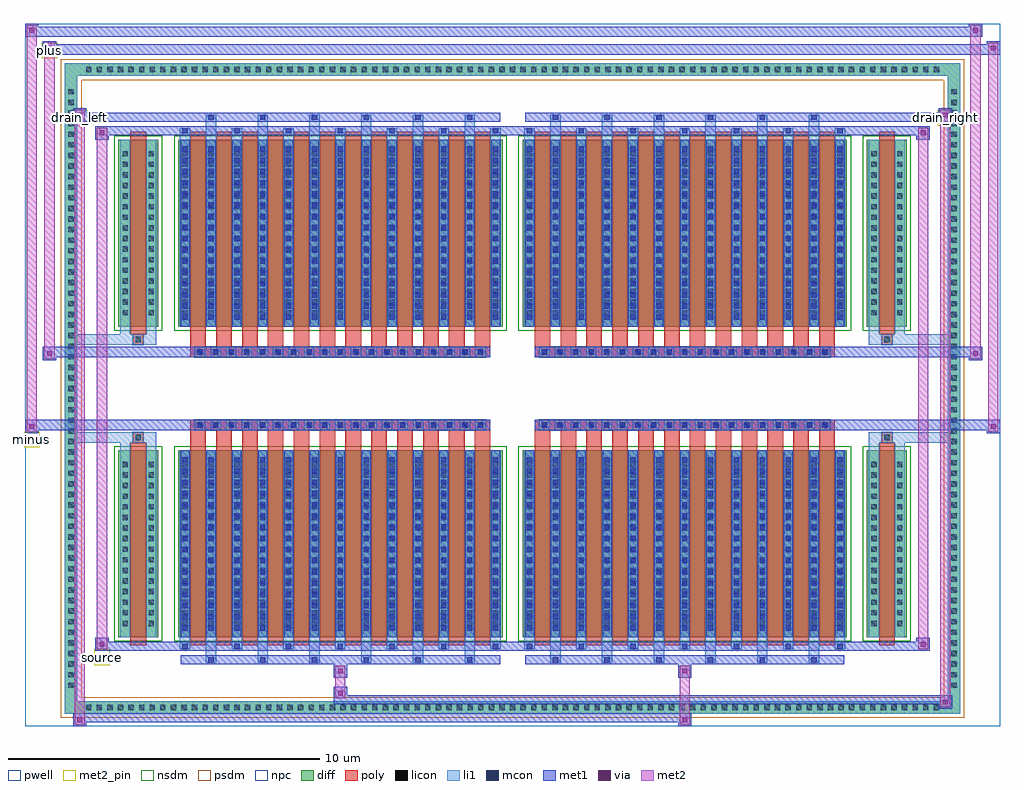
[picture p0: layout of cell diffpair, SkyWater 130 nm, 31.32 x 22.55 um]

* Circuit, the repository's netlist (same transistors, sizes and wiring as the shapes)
* NGSPICE file created from diffpair.ext - technology: sky130A

.subckt diffpair minus drain_right drain_left source plus
X0 drain_left plus source a_n2874_n2088# sky130_fd_pr__nfet_01v8 ad=0.99 pd=6.33 as=0.99 ps=6.33 w=6 l=0.5
X1 source plus drain_left a_n2874_n2088# sky130_fd_pr__nfet_01v8 ad=0.99 pd=6.33 as=0.99 ps=6.33 w=6 l=0.5
X2 a_n2874_n2088# a_n2874_n2088# a_n2874_n2088# a_n2874_n2088# sky130_fd_pr__nfet_01v8 ad=2.34 pd=12.78 as=18.72 ps=102.24 w=6 l=0.5
X3 drain_right minus source a_n2874_n2088# sky130_fd_pr__nfet_01v8 ad=0.99 pd=6.33 as=0.99 ps=6.33 w=6 l=0.5
X4 source plus drain_left a_n2874_n2088# sky130_fd_pr__nfet_01v8 ad=0.99 pd=6.33 as=0.99 ps=6.33 w=6 l=0.5
X5 drain_left plus source a_n2874_n2088# sky130_fd_pr__nfet_01v8 ad=0.99 pd=6.33 as=2.34 ps=12.78 w=6 l=0.5
X6 source plus drain_left a_n2874_n2088# sky130_fd_pr__nfet_01v8 ad=0.99 pd=6.33 as=0.99 ps=6.33 w=6 l=0.5
X7 source minus drain_right a_n2874_n2088# sky130_fd_pr__nfet_01v8 ad=0.99 pd=6.33 as=0.99 ps=6.33 w=6 l=0.5
X8 drain_right minus source a_n2874_n2088# sky130_fd_pr__nfet_01v8 ad=0.99 pd=6.33 as=0.99 ps=6.33 w=6 l=0.5
X9 source minus drain_right a_n2874_n2088# sky130_fd_pr__nfet_01v8 ad=0.99 pd=6.33 as=0.99 ps=6.33 w=6 l=0.5
X10 source minus drain_right a_n2874_n2088# sky130_fd_pr__nfet_01v8 ad=0.99 pd=6.33 as=0.99 ps=6.33 w=6 l=0.5
X11 source plus drain_left a_n2874_n2088# sky130_fd_pr__nfet_01v8 ad=0.99 pd=6.33 as=0.99 ps=6.33 w=6 l=0.5
X12 source plus drain_left a_n2874_n2088# sky130_fd_pr__nfet_01v8 ad=2.34 pd=12.78 as=0.99 ps=6.33 w=6 l=0.5
X13 source minus drain_right a_n2874_n2088# sky130_fd_pr__nfet_01v8 ad=0.99 pd=6.33 as=0.99 ps=6.33 w=6 l=0.5
X14 source minus drain_right a_n2874_n2088# sky130_fd_pr__nfet_01v8 ad=0.99 pd=6.33 as=0.99 ps=6.33 w=6 l=0.5
X15 drain_right minus source a_n2874_n2088# sky130_fd_pr__nfet_01v8 ad=0.99 pd=6.33 as=0.99 ps=6.33 w=6 l=0.5
X16 drain_right minus source a_n2874_n2088# sky130_fd_pr__nfet_01v8 ad=0.99 pd=6.33 as=0.99 ps=6.33 w=6 l=0.5
X17 drain_right minus source a_n2874_n2088# sky130_fd_pr__nfet_01v8 ad=0.99 pd=6.33 as=0.99 ps=6.33 w=6 l=0.5
X18 a_n2874_n2088# a_n2874_n2088# a_n2874_n2088# a_n2874_n2088# sky130_fd_pr__nfet_01v8 ad=2.34 pd=12.78 as=0 ps=0 w=6 l=0.5
X19 drain_left plus source a_n2874_n2088# sky130_fd_pr__nfet_01v8 ad=0.99 pd=6.33 as=0.99 ps=6.33 w=6 l=0.5
X20 drain_right minus source a_n2874_n2088# sky130_fd_pr__nfet_01v8 ad=0.99 pd=6.33 as=0.99 ps=6.33 w=6 l=0.5
X21 source plus drain_left a_n2874_n2088# sky130_fd_pr__nfet_01v8 ad=2.34 pd=12.78 as=0.99 ps=6.33 w=6 l=0.5
X22 source plus drain_left a_n2874_n2088# sky130_fd_pr__nfet_01v8 ad=0.99 pd=6.33 as=0.99 ps=6.33 w=6 l=0.5
X23 source minus drain_right a_n2874_n2088# sky130_fd_pr__nfet_01v8 ad=0.99 pd=6.33 as=0.99 ps=6.33 w=6 l=0.5
X24 source minus drain_right a_n2874_n2088# sky130_fd_pr__nfet_01v8 ad=0.99 pd=6.33 as=0.99 ps=6.33 w=6 l=0.5
X25 drain_left plus source a_n2874_n2088# sky130_fd_pr__nfet_01v8 ad=0.99 pd=6.33 as=2.34 ps=12.78 w=6 l=0.5
X26 source plus drain_left a_n2874_n2088# sky130_fd_pr__nfet_01v8 ad=0.99 pd=6.33 as=0.99 ps=6.33 w=6 l=0.5
X27 source plus drain_left a_n2874_n2088# sky130_fd_pr__nfet_01v8 ad=0.99 pd=6.33 as=0.99 ps=6.33 w=6 l=0.5
X28 drain_left plus source a_n2874_n2088# sky130_fd_pr__nfet_01v8 ad=0.99 pd=6.33 as=0.99 ps=6.33 w=6 l=0.5
X29 drain_right minus source a_n2874_n2088# sky130_fd_pr__nfet_01v8 ad=0.99 pd=6.33 as=2.34 ps=12.78 w=6 l=0.5
X30 drain_right minus source a_n2874_n2088# sky130_fd_pr__nfet_01v8 ad=0.99 pd=6.33 as=0.99 ps=6.33 w=6 l=0.5
X31 a_n2874_n2088# a_n2874_n2088# a_n2874_n2088# a_n2874_n2088# sky130_fd_pr__nfet_01v8 ad=2.34 pd=12.78 as=0 ps=0 w=6 l=0.5
X32 source minus drain_right a_n2874_n2088# sky130_fd_pr__nfet_01v8 ad=0.99 pd=6.33 as=0.99 ps=6.33 w=6 l=0.5
X33 drain_right minus source a_n2874_n2088# sky130_fd_pr__nfet_01v8 ad=0.99 pd=6.33 as=2.34 ps=12.78 w=6 l=0.5
X34 source plus drain_left a_n2874_n2088# sky130_fd_pr__nfet_01v8 ad=0.99 pd=6.33 as=0.99 ps=6.33 w=6 l=0.5
X35 drain_left plus source a_n2874_n2088# sky130_fd_pr__nfet_01v8 ad=0.99 pd=6.33 as=0.99 ps=6.33 w=6 l=0.5
X36 drain_left plus source a_n2874_n2088# sky130_fd_pr__nfet_01v8 ad=0.99 pd=6.33 as=0.99 ps=6.33 w=6 l=0.5
X37 drain_right minus source a_n2874_n2088# sky130_fd_pr__nfet_01v8 ad=0.99 pd=6.33 as=0.99 ps=6.33 w=6 l=0.5
X38 drain_right minus source a_n2874_n2088# sky130_fd_pr__nfet_01v8 ad=0.99 pd=6.33 as=0.99 ps=6.33 w=6 l=0.5
X39 source minus drain_right a_n2874_n2088# sky130_fd_pr__nfet_01v8 ad=2.34 pd=12.78 as=0.99 ps=6.33 w=6 l=0.5
X40 source minus drain_right a_n2874_n2088# sky130_fd_pr__nfet_01v8 ad=0.99 pd=6.33 as=0.99 ps=6.33 w=6 l=0.5
X41 drain_left plus source a_n2874_n2088# sky130_fd_pr__nfet_01v8 ad=0.99 pd=6.33 as=0.99 ps=6.33 w=6 l=0.5
X42 source plus drain_left a_n2874_n2088# sky130_fd_pr__nfet_01v8 ad=0.99 pd=6.33 as=0.99 ps=6.33 w=6 l=0.5
X43 source minus drain_right a_n2874_n2088# sky130_fd_pr__nfet_01v8 ad=0.99 pd=6.33 as=0.99 ps=6.33 w=6 l=0.5
X44 drain_left plus source a_n2874_n2088# sky130_fd_pr__nfet_01v8 ad=0.99 pd=6.33 as=0.99 ps=6.33 w=6 l=0.5
X45 source minus drain_right a_n2874_n2088# sky130_fd_pr__nfet_01v8 ad=2.34 pd=12.78 as=0.99 ps=6.33 w=6 l=0.5
X46 drain_left plus source a_n2874_n2088# sky130_fd_pr__nfet_01v8 ad=0.99 pd=6.33 as=0.99 ps=6.33 w=6 l=0.5
X47 source plus drain_left a_n2874_n2088# sky130_fd_pr__nfet_01v8 ad=0.99 pd=6.33 as=0.99 ps=6.33 w=6 l=0.5
X48 drain_left plus source a_n2874_n2088# sky130_fd_pr__nfet_01v8 ad=0.99 pd=6.33 as=0.99 ps=6.33 w=6 l=0.5
X49 drain_left plus source a_n2874_n2088# sky130_fd_pr__nfet_01v8 ad=0.99 pd=6.33 as=0.99 ps=6.33 w=6 l=0.5
X50 drain_right minus source a_n2874_n2088# sky130_fd_pr__nfet_01v8 ad=0.99 pd=6.33 as=0.99 ps=6.33 w=6 l=0.5
X51 a_n2874_n2088# a_n2874_n2088# a_n2874_n2088# a_n2874_n2088# sky130_fd_pr__nfet_01v8 ad=2.34 pd=12.78 as=0 ps=0 w=6 l=0.5
.ends

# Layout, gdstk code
import gdstk
lib = gdstk.Library(unit=1e-6, precision=5e-09)
def R(c, l, rs):  # rectangles x0, y0, x1, y1
    for r in rs: c.add(gdstk.rectangle(r[:2], r[2:], *l))
def A(c, l, x, y, w, h, nx, ny, dx, dy):  # array of equal rectangles
    R(c, l, [(x+i*dx, y+j*dy, x+i*dx+w, y+j*dy+h) for i in range(nx) for j in range(ny)])
def P(c, l, *ps):  # polygons
    for p in ps: c.add(gdstk.Polygon(p, *l))
pwell = (64, 44)
diff = (65, 20)
poly = (66, 20)
licon = (66, 44)
li1 = (67, 20)
mcon = (67, 44)
met1 = (68, 20)
via = (68, 44)
met2_pin = (69, 16)
met2 = (69, 20)
nsdm = (93, 44)
psdm = (94, 20)
npc = (95, 20)

diffpair = lib.new_cell('diffpair')
R(diffpair, pwell, [(-15.64,-10.84,15.64,11.71), (-12.96,-9.03,-0.01,-0.805), (0.01,-9.03,12.96,-0.805), (-12.96,0.805,-0.01,9.03), (0.01,0.805,12.96,9.03)])
A(diffpair, diff, -13.805, -10.44, 0.41, 0.41, 81, 2, 0.34, 20.47)
A(diffpair, diff, -14.37, -9.725, 0.41, 0.41, 1, 57, 0, 0.34)
A(diffpair, diff, 13.96, -9.725, 0.41, 0.41, 1, 57, 0, 0.34)
R(diffpair, diff, [(-13.805,-10.44,13.805,-10.03), (-14.37,-9.725,-13.96,9.725), (13.96,-9.725,14.37,9.725), (-12.65,-7.985,-11.37,-1.985), (-10.73,-7.985,-0.32,-1.985), (0.32,-7.985,10.73,-1.985), (11.37,-7.985,12.65,-1.985), (-12.65,1.985,-11.37,7.985), (-10.73,1.985,-0.32,7.985), (0.32,1.985,10.73,7.985), (11.37,1.985,12.65,7.985), (-13.805,10.03,13.805,10.44)])
P(diffpair, diff, [(14.37,10.44),(-14.37,10.44),(-14.37,-10.03),(-13.96,-10.03),(-13.96,10.03),(13.96,10.03),(13.96,-10.03),(-13.96,-10.03),(-14.37,-10.03),(-14.37,-10.44),(14.37,-10.44)])
A(diffpair, poly, -10.34, -8.235, 0.5, 6.5, 12, 2, 0.83, 9.97)
A(diffpair, poly, 0.71, -8.235, 0.5, 6.5, 12, 2, 0.83, 9.97)
A(diffpair, poly, -10.34, -1.735, 0.5, 0.4, 12, 2, 0.83, 3.07)
A(diffpair, poly, 0.71, -1.735, 0.5, 0.4, 12, 2, 0.83, 3.07)
A(diffpair, poly, -10.19, -1.335, 0.33, 0.33, 19, 2, 0.5, 2.34)
A(diffpair, poly, 0.86, -1.335, 0.33, 0.33, 19, 2, 0.5, 2.34)
R(diffpair, poly, [(-12.26,-8.235,-11.76,-1.735), (11.76,-8.235,12.26,-1.735), (-12.175,-1.735,-11.845,-1.405), (-12.175,-1.735,-11.845,-1.405), (11.845,-1.735,12.175,-1.405), (11.845,-1.735,12.175,-1.405), (-10.34,-1.335,-0.71,-1.005), (0.71,-1.335,10.34,-1.005), (-10.34,1.005,-0.71,1.335), (0.71,1.005,10.34,1.335), (-12.175,1.405,-11.845,1.735), (-12.175,1.405,-11.845,1.735), (11.845,1.405,12.175,1.735), (11.845,1.405,12.175,1.735), (-12.26,1.735,-11.76,8.235), (11.76,1.735,12.26,8.235)])
A(diffpair, licon, -13.685, -10.32, 0.17, 0.17, 81, 2, 0.34, 20.47)
A(diffpair, licon, -14.25, -9.605, 0.17, 0.17, 1, 57, 0, 0.34)
A(diffpair, licon, 14.08, -9.605, 0.17, 0.17, 1, 57, 0, 0.34)
A(diffpair, licon, -12.51, -7.62, 0.17, 0.17, 1, 16, 0, 0.34)
A(diffpair, licon, -11.68, -7.62, 0.17, 0.17, 1, 16, 0, 0.34)
A(diffpair, licon, -10.59, -7.62, 0.17, 0.17, 13, 16, 0.83, 0.34)
A(diffpair, licon, 0.46, -7.62, 0.17, 0.17, 13, 16, 0.83, 0.34)
A(diffpair, licon, 11.51, -7.62, 0.17, 0.17, 1, 16, 0, 0.34)
A(diffpair, licon, 12.34, -7.62, 0.17, 0.17, 1, 16, 0, 0.34)
A(diffpair, licon, -10.11, -1.255, 0.17, 0.17, 19, 2, 0.5, 2.34)
A(diffpair, licon, 0.94, -1.255, 0.17, 0.17, 19, 2, 0.5, 2.34)
A(diffpair, licon, -12.51, 2.35, 0.17, 0.17, 1, 16, 0, 0.34)
A(diffpair, licon, -11.68, 2.35, 0.17, 0.17, 1, 16, 0, 0.34)
A(diffpair, licon, -10.59, 2.35, 0.17, 0.17, 13, 16, 0.83, 0.34)
A(diffpair, licon, 0.46, 2.35, 0.17, 0.17, 13, 16, 0.83, 0.34)
A(diffpair, licon, 11.51, 2.35, 0.17, 0.17, 1, 16, 0, 0.34)
A(diffpair, licon, 12.34, 2.35, 0.17, 0.17, 1, 16, 0, 0.34)
R(diffpair, licon, [(-12.095,-1.655,-11.925,-1.485), (11.925,-1.655,12.095,-1.485), (-12.095,1.485,-11.925,1.655), (11.925,1.485,12.095,1.655)])
A(diffpair, li1, -13.765, -10.4, 0.33, 0.33, 81, 2, 0.34, 20.47)
A(diffpair, li1, -14.33, -9.685, 0.33, 0.33, 1, 57, 0, 0.34)
A(diffpair, li1, 14, -9.685, 0.33, 0.33, 1, 57, 0, 0.34)
A(diffpair, li1, -9.84, -8.79, 0.33, 0.805, 6, 2, 1.66, 16.775)
A(diffpair, li1, -9.76, -8.79, 0.17, 0.17, 6, 2, 1.66, 17.41)
A(diffpair, li1, 1.21, -8.79, 0.33, 0.805, 6, 2, 1.66, 16.775)
A(diffpair, li1, 1.29, -8.79, 0.17, 0.17, 6, 2, 1.66, 17.41)
A(diffpair, li1, -10.67, -8.36, 0.33, 0.375, 7, 2, 1.66, 16.345)
A(diffpair, li1, -10.59, -8.36, 0.17, 0.17, 7, 2, 1.66, 16.55)
A(diffpair, li1, 0.38, -8.36, 0.33, 0.375, 7, 2, 1.66, 16.345)
A(diffpair, li1, 0.46, -8.36, 0.17, 0.17, 7, 2, 1.66, 16.55)
A(diffpair, li1, -10.67, -7.985, 0.33, 6, 13, 2, 0.83, 9.97)
A(diffpair, li1, 0.38, -7.985, 0.33, 6, 13, 2, 0.83, 9.97)
A(diffpair, li1, -10.59, -7.77, 0.17, 0.17, 13, 16, 0.83, 0.36)
A(diffpair, li1, -10.59, -7.77, 0.17, 5.57, 13, 2, 0.83, 9.97)
A(diffpair, li1, 0.46, -7.77, 0.17, 0.17, 13, 16, 0.83, 0.36)
A(diffpair, li1, 0.46, -7.77, 0.17, 5.57, 13, 2, 0.83, 9.97)
A(diffpair, li1, -12.59, -7.7, 0.33, 0.33, 1, 16, 0, 0.34)
A(diffpair, li1, -11.76, -7.7, 0.33, 0.33, 1, 16, 0, 0.34)
A(diffpair, li1, -10.67, -7.7, 0.33, 0.33, 13, 16, 0.83, 0.34)
A(diffpair, li1, 0.38, -7.7, 0.33, 0.33, 13, 16, 0.83, 0.34)
A(diffpair, li1, 11.43, -7.7, 0.33, 0.33, 1, 16, 0, 0.34)
A(diffpair, li1, 12.26, -7.7, 0.33, 0.33, 1, 16, 0, 0.34)
A(diffpair, li1, -10.19, -1.335, 0.33, 0.33, 19, 2, 0.5, 2.34)
A(diffpair, li1, 0.86, -1.335, 0.33, 0.33, 19, 2, 0.5, 2.34)
A(diffpair, li1, -10.59, 2.2, 0.17, 0.17, 13, 16, 0.83, 0.36)
A(diffpair, li1, 0.46, 2.2, 0.17, 0.17, 13, 16, 0.83, 0.36)
A(diffpair, li1, -12.59, 2.27, 0.33, 0.33, 1, 16, 0, 0.34)
A(diffpair, li1, -11.76, 2.27, 0.33, 0.33, 1, 16, 0, 0.34)
A(diffpair, li1, -10.67, 2.27, 0.33, 0.33, 13, 16, 0.83, 0.34)
A(diffpair, li1, 0.38, 2.27, 0.33, 0.33, 13, 16, 0.83, 0.34)
A(diffpair, li1, 11.43, 2.27, 0.33, 0.33, 1, 16, 0, 0.34)
A(diffpair, li1, 12.26, 2.27, 0.33, 0.33, 1, 16, 0, 0.34)
R(diffpair, li1, [(-14.37,-10.44,-13.96,-10.03), (-14.37,-10.44,-13.96,-10.03), (-13.96,-10.44,13.96,-10.03), (13.96,-10.44,14.37,-10.03), (13.96,-10.44,14.37,-10.03), (-14.37,-10.03,-13.96,10.03), (13.96,-10.03,14.37,10.03), (-12.59,-7.985,-12.26,-1.985), (-11.76,-7.985,-11.43,-1.985), (11.43,-7.985,11.76,-1.985), (12.26,-7.985,12.59,-1.985), (-12.59,-1.985,-12.26,-1.405), (-11.76,-1.985,-11.43,-1.405), (11.43,-1.985,11.76,-1.405), (12.26,-1.985,12.59,-1.405), (-14.37,-1.735,-12.175,-1.405), (-12.59,-1.735,-12.175,-1.405), (-12.175,-1.735,-11.845,-1.405), (-11.845,-1.735,-11.43,-1.405), (11.43,-1.735,11.845,-1.405), (11.845,-1.735,12.175,-1.405), (11.845,-1.735,14.37,-1.405), (12.175,-1.735,12.59,-1.405), (-14.37,1.405,-12.175,1.735), (-12.59,1.405,-12.175,1.735), (-12.59,1.405,-12.26,1.985), (-12.175,1.405,-11.845,1.735), (-11.845,1.405,-11.43,1.735), (-11.76,1.405,-11.43,1.985), (11.43,1.405,11.845,1.735), (11.43,1.405,11.76,1.985), (11.845,1.405,12.175,1.735), (11.845,1.405,14.37,1.735), (12.175,1.405,12.59,1.735), (12.26,1.405,12.59,1.985), (-12.59,1.985,-12.26,7.985), (-11.76,1.985,-11.43,7.985), (11.43,1.985,11.76,7.985), (12.26,1.985,12.59,7.985), (-14.37,10.03,-13.96,10.44), (-14.37,10.03,-13.96,10.44), (-13.96,10.03,13.96,10.44), (13.96,10.03,14.37,10.44), (13.96,10.03,14.37,10.44)])
A(diffpair, mcon, -9.76, -8.79, 0.17, 0.17, 6, 2, 1.66, 17.41)
A(diffpair, mcon, 1.29, -8.79, 0.17, 0.17, 6, 2, 1.66, 17.41)
A(diffpair, mcon, -10.59, -8.36, 0.17, 0.17, 7, 2, 1.66, 16.55)
A(diffpair, mcon, 0.46, -8.36, 0.17, 0.17, 7, 2, 1.66, 16.55)
A(diffpair, mcon, -10.59, -7.77, 0.17, 0.17, 13, 16, 0.83, 0.36)
A(diffpair, mcon, 0.46, -7.77, 0.17, 0.17, 13, 16, 0.83, 0.36)
A(diffpair, mcon, -10.11, -1.255, 0.17, 0.17, 19, 2, 0.5, 2.34)
A(diffpair, mcon, 0.94, -1.255, 0.17, 0.17, 19, 2, 0.5, 2.34)
A(diffpair, mcon, -10.59, 2.2, 0.17, 0.17, 13, 16, 0.83, 0.36)
A(diffpair, mcon, 0.46, 2.2, 0.17, 0.17, 13, 16, 0.83, 0.36)
A(diffpair, met1, -9.82, -8.85, 0.29, 0.29, 6, 2, 1.66, 17.41)
A(diffpair, met1, 1.23, -8.85, 0.29, 0.29, 6, 2, 1.66, 17.41)
A(diffpair, met1, -10.65, -8.42, 0.29, 0.29, 7, 2, 1.66, 16.55)
A(diffpair, met1, 0.4, -8.42, 0.29, 0.29, 7, 2, 1.66, 16.55)
A(diffpair, met1, -10.65, -7.985, 0.29, 6, 13, 2, 0.83, 9.97)
A(diffpair, met1, 0.4, -7.985, 0.29, 6, 13, 2, 0.83, 9.97)
A(diffpair, met1, -10.65, -7.83, 0.29, 0.29, 13, 16, 0.83, 0.36)
A(diffpair, met1, 0.4, -7.83, 0.29, 0.29, 13, 16, 0.83, 0.36)
A(diffpair, met1, -10.17, -1.315, 0.29, 0.29, 19, 2, 0.5, 2.34)
A(diffpair, met1, 0.88, -1.315, 0.29, 0.29, 19, 2, 0.5, 2.34)
A(diffpair, met1, -10.65, 2.14, 0.29, 0.29, 13, 16, 0.83, 0.36)
A(diffpair, met1, 0.4, 2.14, 0.29, 0.29, 13, 16, 0.83, 0.36)
R(diffpair, met1, [(-14.1,-10.84,-13.67,-10.41), (5.31,-10.84,5.74,-10.41), (-14.1,-10.7,5.74,-10.41), (13.67,-10.27,14.1,-9.84), (-5.74,-10.13,14.1,-9.84), (-5.74,-9.99,-5.31,-9.56), (-5.74,-9.28,-5.31,-8.85), (5.31,-9.28,5.74,-8.85), (-10.65,-8.85,-0.4,-8.56), (0.4,-8.85,10.65,-8.56), (-13.39,-8.42,-12.96,-7.99), (-13.39,-8.42,-10.65,-8.13), (-10.65,-8.42,-0.4,-8.13), (-0.4,-8.42,0.4,-8.13), (0.4,-8.42,10.65,-8.13), (10.65,-8.42,13.39,-8.13), (12.96,-8.42,13.39,-7.99), (-15.64,-1.435,-15.21,-1.005), (15.21,-1.435,15.64,-1.005), (-15.64,-1.335,-0.71,-1.005), (-10.34,-1.335,-0.71,-1.005), (0.71,-1.335,10.34,-1.005), (0.71,-1.335,15.64,-1.005), (-15.07,0.905,-14.64,1.335), (14.64,0.905,15.07,1.335), (-15.07,1.005,-10.34,1.335), (-10.34,1.005,-0.71,1.335), (0.71,1.005,10.34,1.335), (10.34,1.005,15.07,1.335), (-13.39,7.99,-12.96,8.42), (12.96,7.99,13.39,8.42), (-13.39,8.13,-10.65,8.42), (-10.65,8.13,-0.4,8.42), (-0.4,8.13,0.4,8.42), (0.4,8.13,10.65,8.42), (10.65,8.13,13.39,8.42), (-14.1,8.56,-13.67,8.99), (-14.1,8.56,-10.65,8.85), (-10.65,8.56,-0.4,8.85), (0.4,8.56,10.65,8.85), (10.65,8.56,14.1,8.85), (13.67,8.56,14.1,8.99), (-15.07,10.71,-14.64,11.14), (-15.07,10.71,-12.96,11.04), (-12.96,10.71,12.96,11.04), (12.96,10.71,15.64,11.04), (15.21,10.71,15.64,11.14), (-15.64,11.28,-15.21,11.71), (-15.64,11.28,-12.96,11.61), (-12.96,11.28,12.96,11.61), (12.96,11.28,15.07,11.61), (14.64,11.28,15.07,11.71)])
R(diffpair, via, [(-13.96,-10.7,-13.81,-10.55), (5.45,-10.7,5.6,-10.55), (13.81,-10.13,13.96,-9.98), (-5.6,-9.85,-5.45,-9.7), (-5.6,-9.14,-5.45,-8.99), (5.45,-9.14,5.6,-8.99), (-13.25,-8.28,-13.1,-8.13), (13.1,-8.28,13.25,-8.13), (-15.5,-1.295,-15.35,-1.145), (15.35,-1.295,15.5,-1.145), (-14.93,1.045,-14.78,1.195), (14.78,1.045,14.93,1.195), (-13.25,8.13,-13.1,8.28), (13.1,8.13,13.25,8.28), (-13.96,8.7,-13.81,8.85), (13.81,8.7,13.96,8.85), (-14.93,10.85,-14.78,11), (15.35,10.85,15.5,11), (-15.5,11.42,-15.35,11.57), (14.78,11.42,14.93,11.57)])
R(diffpair, met2_pin, [(-13.425,-8.87,-12.925,-8.37), (-15.675,-1.885,-15.175,-1.385), (-14.135,8.44,-13.635,8.94), (13.635,8.44,14.135,8.94), (-15.105,10.59,-14.605,11.09)])
R(diffpair, met2, [(-14.05,-10.79,-13.72,-10.46), (-14.05,-10.79,-13.72,8.94), (5.36,-10.79,5.69,-10.46), (5.36,-10.46,5.69,-9.23), (13.72,-10.22,14.05,-9.89), (13.72,-10.22,14.05,8.94), (-5.69,-9.94,-5.36,-9.61), (-5.69,-9.61,-5.36,-9.23), (-5.69,-9.23,-5.36,-8.9), (5.36,-9.23,5.69,-8.9), (-13.34,-8.37,-13.01,-8.04), (-13.34,-8.37,-13.01,8.37), (13.01,-8.37,13.34,-8.04), (13.01,-8.37,13.34,8.37), (-15.59,-1.385,-15.26,-1.055), (-15.59,-1.385,-15.26,11.66), (15.26,-1.385,15.59,-1.055), (15.26,-1.385,15.59,11.09), (-15.02,0.955,-14.69,1.285), (-15.02,0.955,-14.69,11.09), (14.69,0.955,15.02,1.285), (14.69,0.955,15.02,11.66), (-13.34,8.04,-13.01,8.37), (13.01,8.04,13.34,8.37), (-14.05,8.61,-13.72,8.94), (13.72,8.61,14.05,8.94), (-15.02,10.76,-14.69,11.09), (15.26,10.76,15.59,11.09), (-15.59,11.33,-15.26,11.66), (14.69,11.33,15.02,11.66)])
P(diffpair, met2, [(15.59,-1.385),(15.59,-1.385),(15.59,-1.055),(15.59,-1.055)],
  [(15.59,10.76),(15.59,10.76),(15.59,11.09),(15.59,11.09)],
  [(-15.26,-1.385),(-15.26,-1.385),(-15.26,-1.055),(-15.26,-1.055)],
  [(-15.26,11.33),(-15.26,11.33),(-15.26,11.66),(-15.26,11.66)],
  [(15.02,0.955),(15.02,0.955),(15.02,1.285),(15.02,1.285)],
  [(15.02,11.33),(15.02,11.33),(15.02,11.66),(15.02,11.66)],
  [(-14.69,0.955),(-14.69,0.955),(-14.69,1.285),(-14.69,1.285)],
  [(-14.69,10.76),(-14.69,10.76),(-14.69,11.09),(-14.69,11.09)],
  [(-13.72,-10.79),(-13.72,-10.79),(-13.72,-10.46),(-13.72,-10.46)],
  [(-13.72,8.61),(-13.72,8.61),(-13.72,8.94),(-13.72,8.94)],
  [(14.05,-10.22),(14.05,-10.22),(14.05,-9.89),(14.05,-9.89)],
  [(14.05,8.61),(14.05,8.61),(14.05,8.94),(14.05,8.94)],
  [(-13.01,-8.37),(-13.01,-8.37),(-13.01,-8.04),(-13.01,-8.04)],
  [(-13.01,8.04),(-13.01,8.04),(-13.01,8.37),(-13.01,8.37)],
  [(13.34,-8.37),(13.34,-8.37),(13.34,-8.04),(13.34,-8.04)],
  [(13.34,8.04),(13.34,8.04),(13.34,8.37),(13.34,8.37)])
R(diffpair, nsdm, [(-12.78,-8.115,-11.24,-1.855), (-10.86,-8.115,-0.19,-1.855), (0.19,-8.115,10.86,-1.855), (11.24,-8.115,12.78,-1.855), (-12.78,1.855,-11.24,8.115), (-10.86,1.855,-0.19,8.115), (0.19,1.855,10.86,8.115), (11.24,1.855,12.78,8.115)])
P(diffpair, psdm, [(14.5,10.57),(-14.5,10.57),(-14.5,-9.9),(-13.83,-9.9),(-13.83,9.9),(13.83,9.9),(13.83,-9.9),(-13.83,-9.9),(-14.5,-9.9),(-14.5,-10.57),(14.5,-10.57)])
A(diffpair, npc, -10.21, -1.355, 0.37, 0.37, 19, 2, 0.5, 2.34)
A(diffpair, npc, 0.84, -1.355, 0.37, 0.37, 19, 2, 0.5, 2.34)
R(diffpair, npc, [(-12.195,-1.755,-11.825,-1.385), (11.825,-1.755,12.195,-1.385), (-10.21,-1.355,-9.34,-0.985), (-10.21,-1.355,-9.34,-0.985), (-9.71,-1.355,-8.84,-0.985), (-9.71,-1.355,-8.84,-0.985), (-9.21,-1.355,-8.34,-0.985), (-9.21,-1.355,-8.34,-0.985), (-8.71,-1.355,-7.84,-0.985), (-8.71,-1.355,-7.84,-0.985), (-8.21,-1.355,-7.34,-0.985), (-8.21,-1.355,-7.34,-0.985), (-7.71,-1.355,-6.84,-0.985), (-7.71,-1.355,-6.84,-0.985), (-7.21,-1.355,-6.34,-0.985), (-7.21,-1.355,-6.34,-0.985), (-6.71,-1.355,-5.84,-0.985), (-6.71,-1.355,-5.84,-0.985), (-6.21,-1.355,-5.34,-0.985), (-6.21,-1.355,-5.34,-0.985), (-5.71,-1.355,-4.84,-0.985), (-5.71,-1.355,-4.84,-0.985), (-5.21,-1.355,-4.34,-0.985), (-5.21,-1.355,-4.34,-0.985), (-4.71,-1.355,-3.84,-0.985), (-4.71,-1.355,-3.84,-0.985), (-4.21,-1.355,-3.34,-0.985), (-4.21,-1.355,-3.34,-0.985), (-3.71,-1.355,-2.84,-0.985), (-3.71,-1.355,-2.84,-0.985), (-3.21,-1.355,-2.34,-0.985), (-3.21,-1.355,-2.34,-0.985), (-2.71,-1.355,-1.84,-0.985), (-2.71,-1.355,-1.84,-0.985), (-2.21,-1.355,-1.34,-0.985), (-2.21,-1.355,-1.34,-0.985), (-1.71,-1.355,-0.84,-0.985), (-1.71,-1.355,-0.84,-0.985), (0.84,-1.355,1.71,-0.985), (0.84,-1.355,1.71,-0.985), (1.34,-1.355,2.21,-0.985), (1.34,-1.355,2.21,-0.985), (1.84,-1.355,2.71,-0.985), (1.84,-1.355,2.71,-0.985), (2.34,-1.355,3.21,-0.985), (2.34,-1.355,3.21,-0.985), (2.84,-1.355,3.71,-0.985), (2.84,-1.355,3.71,-0.985), (3.34,-1.355,4.21,-0.985), (3.34,-1.355,4.21,-0.985), (3.84,-1.355,4.71,-0.985), (3.84,-1.355,4.71,-0.985), (4.34,-1.355,5.21,-0.985), (4.34,-1.355,5.21,-0.985), (4.84,-1.355,5.71,-0.985), (4.84,-1.355,5.71,-0.985), (5.34,-1.355,6.21,-0.985), (5.34,-1.355,6.21,-0.985), (5.84,-1.355,6.71,-0.985), (5.84,-1.355,6.71,-0.985), (6.34,-1.355,7.21,-0.985), (6.34,-1.355,7.21,-0.985), (6.84,-1.355,7.71,-0.985), (6.84,-1.355,7.71,-0.985), (7.34,-1.355,8.21,-0.985), (7.34,-1.355,8.21,-0.985), (7.84,-1.355,8.71,-0.985), (7.84,-1.355,8.71,-0.985), (8.34,-1.355,9.21,-0.985), (8.34,-1.355,9.21,-0.985), (8.84,-1.355,9.71,-0.985), (8.84,-1.355,9.71,-0.985), (9.34,-1.355,10.21,-0.985), (9.34,-1.355,10.21,-0.985), (-10.21,0.985,-9.34,1.355), (-10.21,0.985,-9.34,1.355), (-9.71,0.985,-8.84,1.355), (-9.71,0.985,-8.84,1.355), (-9.21,0.985,-8.34,1.355), (-9.21,0.985,-8.34,1.355), (-8.71,0.985,-7.84,1.355), (-8.71,0.985,-7.84,1.355), (-8.21,0.985,-7.34,1.355), (-8.21,0.985,-7.34,1.355), (-7.71,0.985,-6.84,1.355), (-7.71,0.985,-6.84,1.355), (-7.21,0.985,-6.34,1.355), (-7.21,0.985,-6.34,1.355), (-6.71,0.985,-5.84,1.355), (-6.71,0.985,-5.84,1.355), (-6.21,0.985,-5.34,1.355), (-6.21,0.985,-5.34,1.355), (-5.71,0.985,-4.84,1.355), (-5.71,0.985,-4.84,1.355), (-5.21,0.985,-4.34,1.355), (-5.21,0.985,-4.34,1.355), (-4.71,0.985,-3.84,1.355), (-4.71,0.985,-3.84,1.355), (-4.21,0.985,-3.34,1.355), (-4.21,0.985,-3.34,1.355), (-3.71,0.985,-2.84,1.355), (-3.71,0.985,-2.84,1.355), (-3.21,0.985,-2.34,1.355), (-3.21,0.985,-2.34,1.355), (-2.71,0.985,-1.84,1.355), (-2.71,0.985,-1.84,1.355), (-2.21,0.985,-1.34,1.355), (-2.21,0.985,-1.34,1.355), (-1.71,0.985,-0.84,1.355), (-1.71,0.985,-0.84,1.355), (0.84,0.985,1.71,1.355), (0.84,0.985,1.71,1.355), (1.34,0.985,2.21,1.355), (1.34,0.985,2.21,1.355), (1.84,0.985,2.71,1.355), (1.84,0.985,2.71,1.355), (2.34,0.985,3.21,1.355), (2.34,0.985,3.21,1.355), (2.84,0.985,3.71,1.355), (2.84,0.985,3.71,1.355), (3.34,0.985,4.21,1.355), (3.34,0.985,4.21,1.355), (3.84,0.985,4.71,1.355), (3.84,0.985,4.71,1.355), (4.34,0.985,5.21,1.355), (4.34,0.985,5.21,1.355), (4.84,0.985,5.71,1.355), (4.84,0.985,5.71,1.355), (5.34,0.985,6.21,1.355), (5.34,0.985,6.21,1.355), (5.84,0.985,6.71,1.355), (5.84,0.985,6.71,1.355), (6.34,0.985,7.21,1.355), (6.34,0.985,7.21,1.355), (6.84,0.985,7.71,1.355), (6.84,0.985,7.71,1.355), (7.34,0.985,8.21,1.355), (7.34,0.985,8.21,1.355), (7.84,0.985,8.71,1.355), (7.84,0.985,8.71,1.355), (8.34,0.985,9.21,1.355), (8.34,0.985,9.21,1.355), (8.84,0.985,9.71,1.355), (8.84,0.985,9.71,1.355), (9.34,0.985,10.21,1.355), (9.34,0.985,10.21,1.355), (-12.195,1.385,-11.825,1.755), (11.825,1.385,12.195,1.755)])
diffpair.add(gdstk.Label('minus', (-15.425,-1.635), layer=69, texttype=5))
diffpair.add(gdstk.Label('drain_right', (13.885,8.69), layer=69, texttype=5))
diffpair.add(gdstk.Label('drain_left', (-13.885,8.69), layer=69, texttype=5))
diffpair.add(gdstk.Label('source', (-13.175,-8.62), layer=69, texttype=5))
diffpair.add(gdstk.Label('plus', (-14.855,10.84), layer=69, texttype=5))

lib.write_gds('diffpair.gds')
